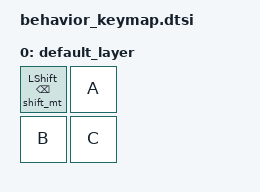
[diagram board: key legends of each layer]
#include "../hold-taps.dtsi"

/ {
    keymap {
        compatible = "zmk,keymap";

        default_layer {
            bindings = <
                &shift_mt LSHFT BSPC &kp A
                &kp B &kp C>;
        };
    };
};
